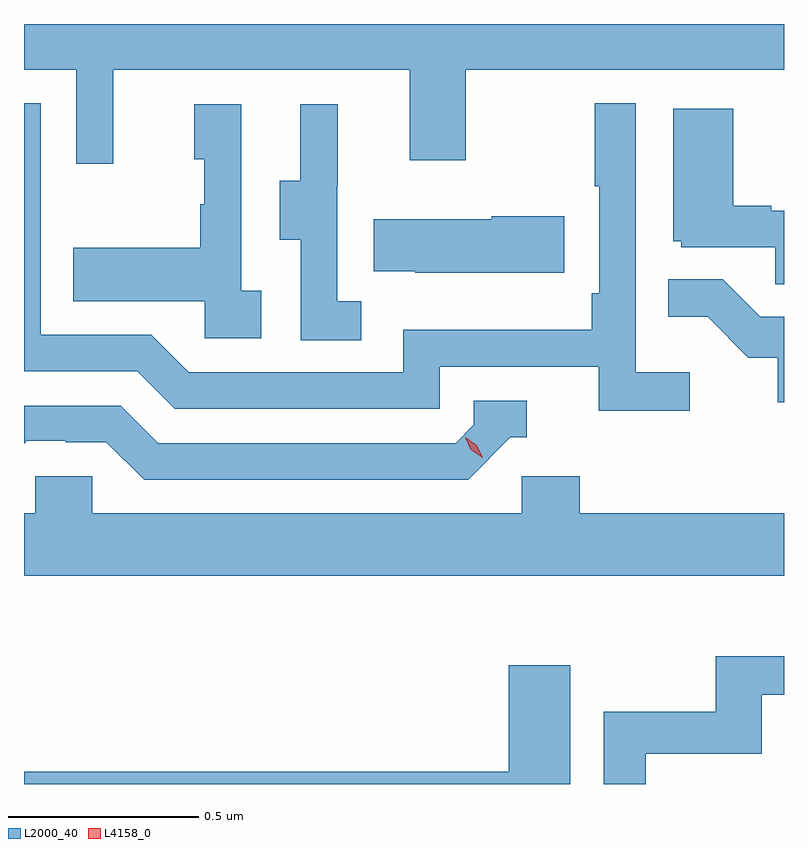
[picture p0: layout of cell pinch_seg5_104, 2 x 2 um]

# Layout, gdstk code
import gdstk
lib = gdstk.Library(unit=1e-6, precision=1e-09)
def P(c, l, *ps):  # polygons
    for p in ps: c.add(gdstk.Polygon(p, *l))
L2000_40 = (2000, 40)
L4158_0 = (4158, 0)

pinch_seg5_104 = lib.new_cell('pinch_seg5_104')
P(pinch_seg5_104, L2000_40, [(1033.001,894.056),(1033.781,894.056),(1033.781,893.817),(1033.929,893.817),(1033.929,894.056),(1034.766,894.056),(1034.766,894.176),(1032.766,894.176),(1032.766,894.056),(1032.903,894.056),(1032.903,893.808),(1033.001,893.808)],
  [(1034.518,893.26),(1034.376,893.26),(1034.376,893.968),(1034.268,893.968),(1034.268,893.749),(1034.28,893.749),(1034.28,893.467),(1034.26,893.467),(1034.26,893.371),(1033.764,893.371),(1033.764,893.259),(1033.2,893.259),(1033.101,893.358),(1032.81,893.358),(1032.81,893.967),(1032.766,893.967),(1032.766,893.262),(1033.064,893.262),(1033.163,893.163),(1033.86,893.163),(1033.86,893.274),(1034.279,893.274),(1034.279,893.158),(1034.518,893.158)],
  [(1033.654,893.447),(1033.59,893.447),(1033.59,893.751),(1033.592,893.751),(1033.592,893.965),(1033.493,893.965),(1033.493,893.763),(1033.439,893.763),(1033.439,893.608),(1033.494,893.608),(1033.494,893.344),(1033.654,893.344)],
  [(1033.39,893.474),(1033.338,893.474),(1033.338,893.965),(1033.214,893.965),(1033.214,893.82),(1033.24,893.82),(1033.24,893.702),(1033.23,893.702),(1033.23,893.587),(1032.895,893.587),(1032.895,893.447),(1033.242,893.447),(1033.242,893.349),(1033.39,893.349)],
  [(1034.766,893.685),(1034.732,893.685),(1034.732,893.698),(1034.632,893.698),(1034.632,893.953),(1034.474,893.953),(1034.474,893.604),(1034.496,893.604),(1034.496,893.589),(1034.743,893.589),(1034.743,893.491),(1034.766,893.491)],
  [(1034.188,893.67),(1033.997,893.67),(1033.997,893.662),(1033.687,893.662),(1033.687,893.525),(1033.795,893.525),(1033.795,893.522),(1034.188,893.522)],
  [(1034.766,893.406),(1034.703,893.406),(1034.605,893.504),(1034.461,893.504),(1034.461,893.405),(1034.565,893.405),(1034.672,893.298),(1034.749,893.298),(1034.749,893.181),(1034.766,893.181)],
  [(1034.046,893.088),(1034.089,893.088),(1034.089,893.184),(1033.95,893.184),(1033.95,893.121),(1033.902,893.073),(1033.119,893.073),(1033.02,893.172),(1032.766,893.172),(1032.766,893.072),(1032.773,893.079),(1032.876,893.079),(1032.876,893.076),(1032.983,893.076),(1033.082,892.977),(1033.935,892.977)],
  [(1034.076,892.986),(1034.076,892.888),(1032.945,892.888),(1032.945,892.986),(1032.795,892.986),(1032.795,892.888),(1032.766,892.888),(1032.766,892.724),(1034.766,892.724),(1034.766,892.888),(1034.228,892.888),(1034.228,892.986)],
  [(1034.402,892.256),(1034.707,892.256),(1034.707,892.411),(1034.766,892.411),(1034.766,892.512),(1034.586,892.512),(1034.586,892.366),(1034.292,892.366),(1034.292,892.176),(1034.402,892.176)],
  [(1034.203,892.489),(1034.042,892.489),(1034.042,892.208),(1032.766,892.208),(1032.766,892.176),(1034.203,892.176)])
P(pinch_seg5_104, L4158_0, [(1033.973,893.035),(1033.942,893.055),(1033.927,893.088),(1033.927,893.088),(1033.927,893.088),(1033.957,893.068),(1033.973,893.035),(1033.973,893.035)])

lib.write_gds('pinch_seg5_104.gds')
